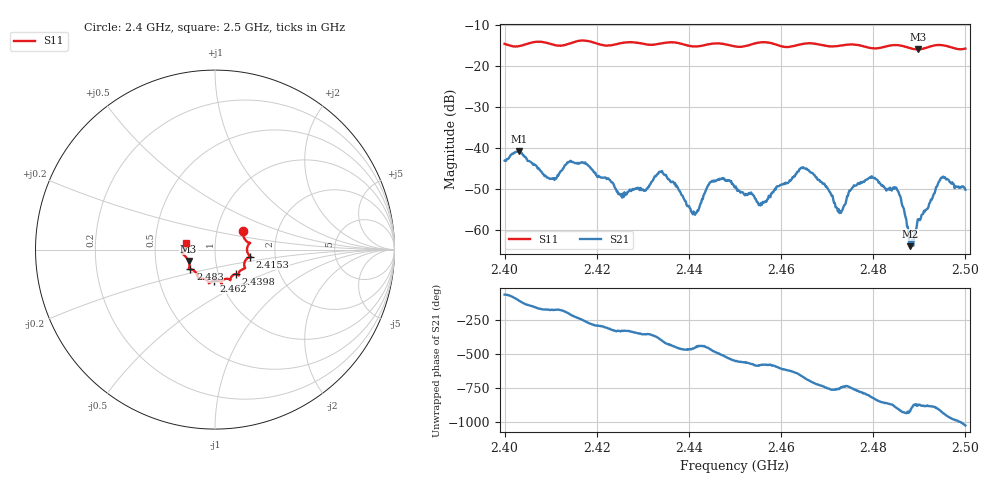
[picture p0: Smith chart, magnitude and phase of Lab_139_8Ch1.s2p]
# Hz S RI R 50
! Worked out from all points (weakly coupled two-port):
!   601 points, 2.4 GHz to 2.5 GHz, reference 50 ohm
!   highest |S21| = -40.76 dB at 2.4032 GHz (marker M1); lowest = -63.9 dB at 2.488 GHz (marker M2)
!   lowest |S11| = -15.9 dB at 2.4897 GHz (marker M3), VSWR 1.38, Z = 36.9 - j4.83 ohm
!   |S11| at or under -10 dB: start of sweep to end of sweep
!   S12 and S22 are empty: the file has one direction only
!   S11 on the Smith chart (normalised r, x): 2.4 GHz: 1.33, +0.29; 2.4153 GHz: 1.48, -0.12; 2.4398 GHz: 1.21, -0.34; 2.462 GHz: 0.93, -0.33; 2.483 GHz: 0.74, -0.17; 2.5 GHz: 0.72, +0.06
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2.4e9  0.155 0.1064  0.00361 -0.00608  0 0  0 0
2.403167e9  0.1669 0.0569  -0.00245 -0.00883  0 0  0 0
2.41e9  0.1854 0.0258  -0.00423 -0.000528  0 0  0 0
2.415333e9  0.1962 -0.0385  -0.00472 0.00458  0 0  0 0
2.416667e9  0.2018 -0.0425  -0.00311 0.00591  0 0  0 0
2.425333e9  0.1656 -0.0972  0.00229 0.00153  0 0  0 0
2.433333e9  0.1313 -0.1336  0.00462 -0.0016  0 0  0 0
2.439833e9  0.1152 -0.1365  -0.000397 -0.00194  0 0  0 0
2.445e9  0.0847 -0.1685  -0.0014 -0.00375  0 0  0 0
2.45e9  0.0646 -0.1626  -0.00328 0.000474  0 0  0 0
2.455667e9  0.0375 -0.1926  -0.00171 0.0013  0 0  0 0
2.462e9  -0.00551 -0.1731  -0.000534 0.00396  0 0  0 0
2.466667e9  -0.0342 -0.1874  0.00484 0.00139  0 0  0 0
2.472833e9  -0.0785 -0.1604  0.0015 -0.000849  0 0  0 0
2.479167e9  -0.1042 -0.1321  0.000358 -0.00435  0 0  0 0
2.483e9  -0.1375 -0.1096  -0.0024 -0.00198  0 0  0 0
2.483333e9  -0.1402 -0.1093  -0.00261 -0.0019  0 0  0 0
2.4855e9  -0.1459 -0.1064  -0.00291 0.000187  0 0  0 0
2.488e9  -0.1422 -0.0863  -0.000602 0.000216  0 0  0 0
2.489667e9  -0.1473 -0.0637  -0.00119 -0.000653  0 0  0 0
2.495e9  -0.18 -0.0198  -0.00388 0.00203  0 0  0 0
2.5e9  -0.1599 0.0392  0.00172 0.0026  0 0  0 0
